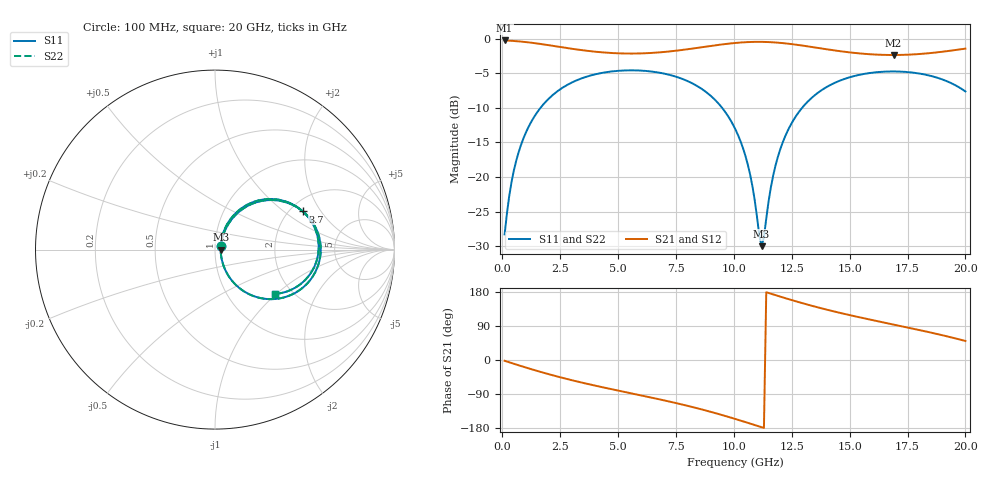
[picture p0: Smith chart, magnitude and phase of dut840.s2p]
! Touchstone file exported from HFSS 2026.1.0
!  File:  C:/ffzhzh/LocalFiles/Ansys_Project_Files/temp_train_TSV_RDL_840_1783268073_5512.aedt
!  Generated:  12:29:56 AM Jul  6, 2026
!  Design:  TSV_RDL
!  Project:  temp_train_TSV_RDL_840_1783268073_5512
! Variables:
!  h_bsmrdl = 5.5um
!  h_ox = 20um
!  h_rdl = 5um
!  h_sub = 91.9um
!  h_tmrdl = 3.01um
!  h_tsv = 91.9um
!  h_via = 3um
!  l_bsmrdl = 374.58um
!  l_sub = 5223.06um
!  l_tmrdl = 903.14um
!  m_sub = 200um
!  pitch = 45.94um
!  r_tsv = 7.19um
!  s_tmrdl = 10um
!  w_bsmrdl = 11.27um
!  w_sub = 500um
!  w_tmrdl = 17.65um
!  x_tsv_center1 = 911.965um
!  x_tsv_center2 = 1297.815um
!  x_tsv_center3 = 2218.605um
!  x_tsv_center4 = 2604.455um
!  x_tsv_center5 = 3525.245um
!  x_tsv_center6 = 3911.095um
# GHz S MA R 50.000000
! Terminal data exported
! Port[1] = TM_RDL1_1_T1
! Port[2] = TM_RDL5_1_T1
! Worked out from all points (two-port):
!   200 points, 100 MHz to 20 GHz, reference 50 ohm
!   highest |S21| = -0.28 dB at 100 MHz (marker M1); lowest = -2.4 dB at 16.9 GHz (marker M2)
!   |S21| within 3 dB of the highest: start of sweep to end of sweep
!   lowest |S11| = -30.0 dB at 11.2 GHz (marker M3), VSWR 1.07, Z = 53.3 - j0.0468 ohm
!   |S11| at or under -10 dB: start of sweep to 1.655 GHz; 9.488 GHz to 12.95 GHz (3.466 GHz wide, 30.9 % of centre)
!   |S22| runs from -30.1 to -4.6 dB; largest |S21 - S12| = 1.7e-14
!   S11 on the Smith chart (normalised r, x): 100 MHz: 1.07, +0.04; 3.7 GHz: 2.34, +1.39; 20 GHz: 1.64, -0.98
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0.1  0.03847 33.0  0.9683 -2.0  0.9683 -2.0  0.03847 33.0
! Gamma 0 0 0 0
! Port Impedance 50 0 50 0
0.3  0.07286 57.1  0.9649 -6.1  0.9649 -6.1  0.07286 57.1
0.5  0.1114 62.1  0.9601 -10.0  0.9601 -10.0  0.1114 62.1
1.1  0.2237 59.4  0.9394 -21.4  0.9394 -21.4  0.2237 59.4
2.1  0.3803 45.7  0.8899 -39.1  0.8899 -39.1  0.3803 45.7
3.5  0.5206 26.1  0.8215 -60.6  0.8215 -60.6  0.5206 26.1
3.7  0.5337 23.5  0.8137 -63.4  0.8137 -63.4  0.5338 23.5
5.3  0.588 3.4  0.7793 -84.5  0.7793 -84.5  0.5881 3.4
6.8  0.5658 -15.0  0.7944 -104.0  0.7944 -104.0  0.5659 -15.0
8.8  0.4108 -42.2  0.8739 -133.4  0.8739 -133.4  0.4108 -42.2
10.1  0.2149 -60.3  0.9301 -156.3  0.9301 -156.3  0.215 -60.4
10.7  0.1046 -62.3  0.9439 -167.7  0.9439 -167.7  0.1047 -62.4
11.2  0.0316 -0.8  0.9459 -177.4  0.9459 -177.4  0.03137 -1.0
11.6  0.08426 61.3  0.9409 174.9  0.9409 174.9  0.08409 61.4
12  0.1576 64.4  0.9304 167.3  0.9304 167.3  0.1575 64.4
12.6  0.2615 58.3  0.9067 156.3  0.9067 156.3  0.2614 58.3
13.4  0.3776 47.2  0.867 142.5  0.867 142.5  0.3775 47.2
15.1  0.5304 24.2  0.7906 117.1  0.7906 117.1  0.5303 24.3
16.7  0.5778 4.8  0.7604 96.1  0.7604 96.1  0.5778 4.8
16.9  0.5782 2.4  0.7601 93.5  0.7601 93.5  0.5782 2.4
18.4  0.5422 -15.7  0.7824 73.9  0.7824 73.9  0.5422 -15.7
20  0.4145 -36.6  0.8451 50.2  0.8451 50.2  0.4145 -36.6
